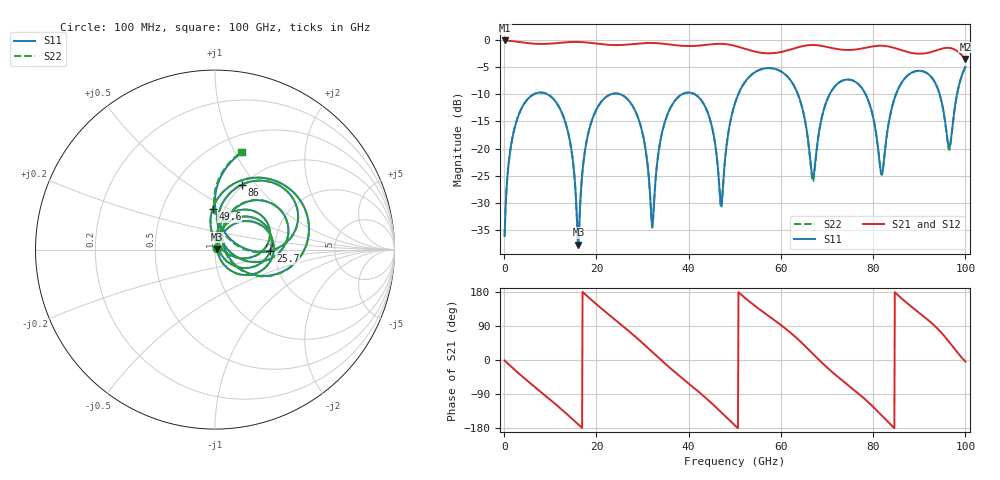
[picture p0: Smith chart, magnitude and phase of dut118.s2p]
! Touchstone file exported from HFSS 2026.1.0
!  File:  C:/ffzhzh/LocalFiles/Ansys_Project_Files/temp_train_TSV_RDL_118_1783458586_41684.aedt
!  Generated:  05:20:14 AM Jul  8, 2026
!  Design:  TSV_RDL
!  Project:  temp_train_TSV_RDL_118_1783458586_41684
! Variables:
!  h_bsmrdl = 4.49um
!  h_ox = 20um
!  h_rdl = 5um
!  h_sub = 58.28um
!  h_tmrdl = 2.82um
!  h_tsv = 58.28um
!  h_via = 3um
!  l_bsmrdl = 679.69um
!  l_sub = 3718.37um
!  l_tmrdl = 279.91um
!  m_sub = 200um
!  pitch = 43.32um
!  r_tsv = 10.18um
!  s_tmrdl = 10um
!  w_bsmrdl = 29.62um
!  w_sub = 500um
!  w_tmrdl = 23.6um
!  x_tsv_center1 = 291.71um
!  x_tsv_center2 = 1001.02um
!  x_tsv_center3 = 1304.53um
!  x_tsv_center4 = 2013.84um
!  x_tsv_center5 = 2317.35um
!  x_tsv_center6 = 3026.66um
# GHz S MA R 50.000000
! Terminal data exported
! Port[1] = TM_RDL1_1_T1
! Port[2] = TM_RDL5_1_T1
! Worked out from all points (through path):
!   1000 points, 100 MHz to 100 GHz, reference 50 ohm
!   highest |S21| = -0.11 dB at 100 MHz (marker M1); lowest = -3.5 dB at 100 GHz (marker M2)
!   group delay of S21, straight-line fit = 29.5 ps
!   lowest |S11| = -37.7 dB at 16.1 GHz (marker M3), VSWR 1.03, Z = 51.3 + j0.417 ohm
!   |S11| at or under -10 dB: 9.36 GHz to 23.19 GHz (13.83 GHz wide, 85 % of centre); 25.13 GHz to 38.61 GHz (13.49 GHz wide, 42.3 % of centre); 41.3 GHz to 50.77 GHz (9.472 GHz wide, 20.6 % of centre) (the widest 3 of 7)
!   |S22| runs from -38.0 to -5.0 dB; largest |S21 - S12| = 1.9e-12
!   S11 on the Smith chart (normalised r, x): 100 MHz: 1.03, +0.02; 25.7 GHz: 1.89, -0.03; 49.6 GHz: 0.88, +0.42; 86 GHz: 0.99, +0.85; 100 GHz: 0.67, +1.07
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0.1  0.01569 32.5  0.9869 -1.2  0.9869 -1.2  0.01569 32.5
! Gamma 0 0 0 0
! Port Impedance 50 0 50 0
2.5  0.1686 54.8  0.9649 -28.2  0.9649 -28.2  0.1686 54.8
8  0.3278 2.0  0.9169 -84.8  0.9169 -84.8  0.3279 2.0
13.4  0.1672 -49.7  0.9488 -140.5  0.9488 -140.5  0.1673 -49.9
16.1  0.01308 18.1  0.9559 -170.4  0.9559 -170.4  0.01264 17.9
16.8  0.05019 74.5  0.9531 -178.2  0.9531 -178.2  0.04998 74.8
25.7  0.3083 -1.2  0.8976 89.8  0.8976 89.8  0.3083 -1.3
32.1  0.01944 16.4  0.9358 21.3  0.9358 21.3  0.01868 16.0
33.4  0.08819 82.6  0.9302 6.8  0.9302 6.8  0.08796 83.0
42.4  0.2896 4.7  0.886 -86.3  0.886 -86.3  0.2895 4.5
47  0.0299 31.4  0.9188 -137.3  0.9188 -137.3  0.02846 30.8
49.6  0.2245 93.5  0.8895 -167.6  0.8895 -167.6  0.2243 93.8
50.1  0.265 89.2  0.8789 -173.3  0.8789 -173.3  0.2648 89.4
61  0.478 -4.4  0.7903 82.9  0.7903 82.9  0.4776 -4.7
66.7  0.0588 -5.5  0.8963 19.1  0.8963 19.1  0.0551 -7.2
76.1  0.4121 10.0  0.8137 -81.3  0.8137 -81.3  0.4119 10.2
81.8  0.05797 26.9  0.8832 -145.6  0.8832 -145.6  0.05754 27.0
83.4  0.1746 84.6  0.8678 -165.5  0.8678 -165.5  0.1745 84.8
86  0.3923 67.4  0.8062 164.3  0.8062 164.3  0.3922 67.4
94.4  0.3177 -0.5  0.8174 77.1  0.8174 77.1  0.3165 -1.2
96.5  0.1027 43.3  0.8434 47.2  0.8434 47.2  0.09715 43.3
100  0.5634 74.3  0.6682 -4.3  0.6682 -4.3  0.5624 74.8
